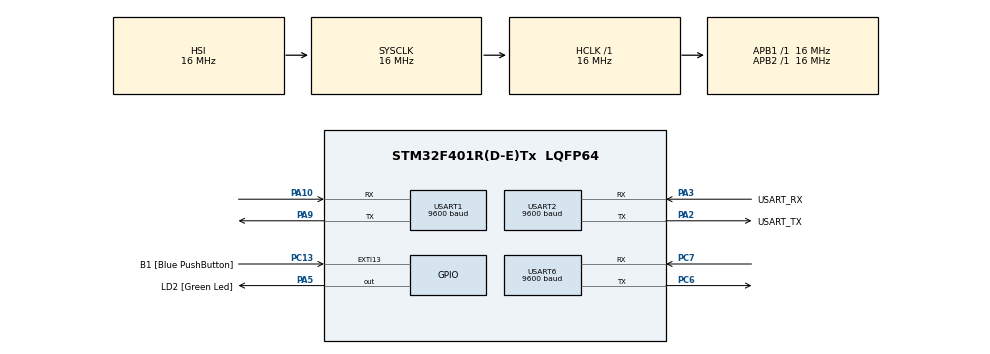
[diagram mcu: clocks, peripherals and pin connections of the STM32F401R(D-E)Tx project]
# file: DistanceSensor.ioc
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Mcu.Family=STM32F4
Mcu.Name=STM32F401R(D-E)Tx
Mcu.Package=LQFP64
NVIC.PriorityGroup=NVIC_PRIORITYGROUP_0
NVIC.USART1_IRQn=true\:0\:0\:false\:false\:true\:true\:true\:true
NVIC.USART2_IRQn=true\:0\:0\:false\:false\:true\:true\:true\:true
NVIC.USART6_IRQn=true\:0\:0\:false\:false\:true\:true\:true\:true
PA10.Mode=Asynchronous
PA10.Signal=USART1_RX
PA13.GPIO_Label=TMS
PA13.Mode=Serial_Wire
PA13.Signal=SYS_JTMS-SWDIO
PA14.GPIO_Label=TCK
PA14.Mode=Serial_Wire
PA14.Signal=SYS_JTCK-SWCLK
PA2.GPIO_Label=USART_TX
PA2.GPIO_Mode=GPIO_MODE_AF_PP
PA2.GPIO_PuPd=GPIO_NOPULL
PA2.GPIO_Speed=GPIO_SPEED_FREQ_LOW
PA2.Mode=Asynchronous
PA2.Signal=USART2_TX
PA3.GPIO_Label=USART_RX
PA3.GPIO_Mode=GPIO_MODE_AF_PP
PA3.GPIO_PuPd=GPIO_NOPULL
PA3.GPIO_Speed=GPIO_SPEED_FREQ_LOW
PA3.Mode=Asynchronous
PA3.Signal=USART2_RX
PA5.GPIO_Label=LD2 [Green Led]
PA5.GPIO_Mode=GPIO_MODE_OUTPUT_PP
PA5.GPIO_PuPd=GPIO_NOPULL
PA5.GPIO_Speed=GPIO_SPEED_FREQ_LOW
PA5.Signal=GPIO_Output
PA9.Mode=Asynchronous
PA9.Signal=USART1_TX
PB3.GPIO_Label=SWO
PB3.Signal=SYS_JTDO-SWO
PC13-ANTI_TAMP.GPIO_Label=B1 [Blue PushButton]
PC13-ANTI_TAMP.GPIO_ModeDefaultEXTI=GPIO_MODE_IT_FALLING
PC13-ANTI_TAMP.GPIO_PuPd=GPIO_NOPULL
PC13-ANTI_TAMP.Signal=GPXTI13
PC14-OSC32_IN.Mode=LSE-External-Oscillator
PC14-OSC32_IN.Signal=RCC_OSC32_IN
PC15-OSC32_OUT.Mode=LSE-External-Oscillator
PC15-OSC32_OUT.Signal=RCC_OSC32_OUT
PC6.Mode=Asynchronous
PC6.Signal=USART6_TX
PC7.Mode=Asynchronous
PC7.Signal=USART6_RX
PH0\ -\ OSC_IN.Mode=HSE-External-Clock-Source
PH0\ -\ OSC_IN.Signal=RCC_OSC_IN
PH1\ -\ OSC_OUT.Mode=HSE-External-Clock-Source
PH1\ -\ OSC_OUT.Signal=RCC_OSC_OUT
ProjectManager.HeapSize=0x200
ProjectManager.StackSize=0x400
ProjectManager.TargetToolchain=STM32CubeIDE
RCC.48MHZClocksFreq_Value=48000000
RCC.AHBFreq_Value=16000000
RCC.APB1Freq_Value=16000000
RCC.APB1TimFreq_Value=16000000
RCC.APB2Freq_Value=16000000
RCC.APB2TimFreq_Value=16000000
RCC.CortexFreq_Value=16000000
RCC.HCLKFreq_Value=16000000
RCC.HSE_VALUE=8000000
RCC.HSI_VALUE=16000000
RCC.PLLN=336
RCC.PLLP=RCC_PLLP_DIV4
RCC.PLLQ=7
RCC.SYSCLKFreq_VALUE=16000000
RCC.VCOOutputFreq_Value=336000000
USART1.BaudRate=9600
USART1.VirtualMode=VM_ASYNC
USART2.BaudRate=9600
USART2.Mode=MODE_TX_RX
USART2.VirtualMode=VM_ASYNC
USART6.BaudRate=9600
USART6.VirtualMode=VM_ASYNC
board=NUCLEO-F401RE

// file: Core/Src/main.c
/* USER CODE BEGIN Header */
/**
  ******************************************************************************
  * @file           : main.c
  * @brief          : Main program body
  ******************************************************************************
  * @attention
  *
  * Copyright (c) 2023 STMicroelectronics.
  * All rights reserved.
  *
  * This software is licensed under terms that can be found in the LICENSE file
  * in the root directory of this software component.
  * If no LICENSE file comes with this software, it is provided AS-IS.
  *
  ******************************************************************************
  */
/* USER CODE END Header */
#include "main.h"

UART_HandleTypeDef huart1;
UART_HandleTypeDef huart2;
UART_HandleTypeDef huart6;

void SystemClock_Config(void);
static void MX_GPIO_Init(void);
static void MX_USART2_UART_Init(void);
static void MX_USART6_UART_Init(void);
static void MX_USART1_UART_Init(void);

/* USER CODE BEGIN 0 */
uint8_t us100_Rx_flag = 01;

/* USER CODE END 0 */

int main(void)
{
  /* USER CODE BEGIN 1 */
	uint8_t txd_msg_buffer[64] = {0};
	uint8_t us100_buffer[2];
	uint16_t distance;
	uint8_t cmd_dist = 0x55;
  /* USER CODE END 1 */

  /* MCU Configuration--------------------------------------------------------*/

  /* Reset of all peripherals, Initializes the Flash interface and the Systick. */
  HAL_Init();

  /* Configure the system clock */
  SystemClock_Config();

  /* Initialize all configured peripherals */
  MX_GPIO_Init();
  MX_USART2_UART_Init();
  MX_USART6_UART_Init();
  MX_USART1_UART_Init();

  /* Infinite loop */
  /* USER CODE BEGIN WHILE */
  while (1)
  {
	  us100_Rx_flag = 01;
	  HAL_UART_Receive_IT(&huart1,us100_buffer,2);
	  HAL_UART_Transmit(&huart1, &cmd_dist,1,500);
	  while(us100_Rx_flag == (00)){};

	  distance = (us100_buffer[0] << 8) + us100_buffer[1];
	  sprintf((char*)txd_msg_buffer, "\r\n Distance: %d", distance);
	  HAL_UART_Transmit(&huart6, txd_msg_buffer, strlen((char*)txd_msg_buffer), 1000);

    /* USER CODE END WHILE */

  }
}

void SystemClock_Config(void)
{
  RCC_OscInitTypeDef RCC_OscInitStruct = {0};
  RCC_ClkInitTypeDef RCC_ClkInitStruct = {0};

  /** Configure the main internal regulator output voltage
  */
  __HAL_RCC_PWR_CLK_ENABLE();
  __HAL_PWR_VOLTAGESCALING_CONFIG(PWR_REGULATOR_VOLTAGE_SCALE2);

  /** Initializes the RCC Oscillators according to the specified parameters
  * in the RCC_OscInitTypeDef structure.
  */
  RCC_OscInitStruct.OscillatorType = RCC_OSCILLATORTYPE_HSI;
  RCC_OscInitStruct.HSIState = RCC_HSI_ON;
  RCC_OscInitStruct.HSICalibrationValue = RCC_HSICALIBRATION_DEFAULT;
  RCC_OscInitStruct.PLL.PLLState = RCC_PLL_NONE;
  if (HAL_RCC_OscConfig(&RCC_OscInitStruct) != HAL_OK)
  {
    Error_Handler();
  }

  /** Initializes the CPU, AHB and APB buses clocks
  */
  RCC_ClkInitStruct.ClockType = RCC_CLOCKTYPE_HCLK|RCC_CLOCKTYPE_SYSCLK
                              |RCC_CLOCKTYPE_PCLK1|RCC_CLOCKTYPE_PCLK2;
  RCC_ClkInitStruct.SYSCLKSource = RCC_SYSCLKSOURCE_HSI;
  RCC_ClkInitStruct.AHBCLKDivider = RCC_SYSCLK_DIV1;
  RCC_ClkInitStruct.APB1CLKDivider = RCC_HCLK_DIV1;
  RCC_ClkInitStruct.APB2CLKDivider = RCC_HCLK_DIV1;

  if (HAL_RCC_ClockConfig(&RCC_ClkInitStruct, FLASH_LATENCY_0) != HAL_OK)
  {
    Error_Handler();
  }
}

static void MX_USART1_UART_Init(void)
{

  huart1.Instance = USART1;
  huart1.Init.BaudRate = 9600;
  huart1.Init.WordLength = UART_WORDLENGTH_8B;
  huart1.Init.StopBits = UART_STOPBITS_1;
  huart1.Init.Parity = UART_PARITY_NONE;
  huart1.Init.Mode = UART_MODE_TX_RX;
  huart1.Init.HwFlowCtl = UART_HWCONTROL_NONE;
  huart1.Init.OverSampling = UART_OVERSAMPLING_16;
  if (HAL_UART_Init(&huart1) != HAL_OK)
  {
    Error_Handler();
  }

}

static void MX_USART2_UART_Init(void)
{

  huart2.Instance = USART2;
  huart2.Init.BaudRate = 9600;
  huart2.Init.WordLength = UART_WORDLENGTH_8B;
  huart2.Init.StopBits = UART_STOPBITS_1;
  huart2.Init.Parity = UART_PARITY_NONE;
  huart2.Init.Mode = UART_MODE_TX_RX;
  huart2.Init.HwFlowCtl = UART_HWCONTROL_NONE;
  huart2.Init.OverSampling = UART_OVERSAMPLING_16;
  if (HAL_UART_Init(&huart2) != HAL_OK)
  {
    Error_Handler();
  }

}

static void MX_USART6_UART_Init(void)
{

  huart6.Instance = USART6;
  huart6.Init.BaudRate = 9600;
  huart6.Init.WordLength = UART_WORDLENGTH_8B;
  huart6.Init.StopBits = UART_STOPBITS_1;
  huart6.Init.Parity = UART_PARITY_NONE;
  huart6.Init.Mode = UART_MODE_TX_RX;
  huart6.Init.HwFlowCtl = UART_HWCONTROL_NONE;
  huart6.Init.OverSampling = UART_OVERSAMPLING_16;
  if (HAL_UART_Init(&huart6) != HAL_OK)
  {
    Error_Handler();
  }

}

static void MX_GPIO_Init(void)
{
  GPIO_InitTypeDef GPIO_InitStruct = {0};

  /* GPIO Ports Clock Enable */
  __HAL_RCC_GPIOC_CLK_ENABLE();
  __HAL_RCC_GPIOH_CLK_ENABLE();
  __HAL_RCC_GPIOA_CLK_ENABLE();
  __HAL_RCC_GPIOB_CLK_ENABLE();

  /*Configure GPIO pin Output Level */
  HAL_GPIO_WritePin(LD2_GPIO_Port, LD2_Pin, GPIO_PIN_RESET);

  /*Configure GPIO pin : B1_Pin */
  GPIO_InitStruct.Pin = B1_Pin;
  GPIO_InitStruct.Mode = GPIO_MODE_IT_FALLING;
  GPIO_InitStruct.Pull = GPIO_NOPULL;
  HAL_GPIO_Init(B1_GPIO_Port, &GPIO_InitStruct);

  /*Configure GPIO pin : LD2_Pin */
  GPIO_InitStruct.Pin = LD2_Pin;
  GPIO_InitStruct.Mode = GPIO_MODE_OUTPUT_PP;
  GPIO_InitStruct.Pull = GPIO_NOPULL;
  GPIO_InitStruct.Speed = GPIO_SPEED_FREQ_LOW;
  HAL_GPIO_Init(LD2_GPIO_Port, &GPIO_InitStruct);

}

/* USER CODE BEGIN 4 */
void HAL_UART_RxCpltCallback(UART_HandleTypeDef *huart){
	if(huart->Instance == USART1){
		us100_Rx_flag = 01;
	}
}
/* USER CODE END 4 */

void Error_Handler(void)
{
  __disable_irq();
  while (1)
  {
  }
}
